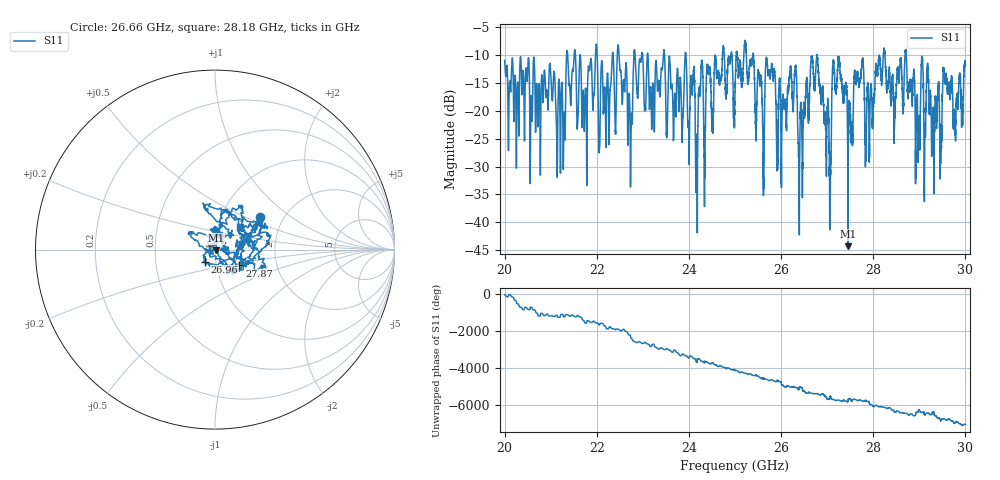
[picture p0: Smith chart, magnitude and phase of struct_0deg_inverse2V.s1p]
#  HZ  S  RI  R  50.00
! Rohde & Schwarz ZVA40 4Ports - Version 3.90 - 1145.1110k42 SN: 100403
! Date: 2023-09-28 09:01:48
! Measurement: S22
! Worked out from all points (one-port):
!   5001 points, 20 GHz to 30 GHz, reference 50 ohm
!   lowest |S11| = -44.3 dB at 27.45 GHz (marker M1), VSWR 1.01, Z = 50.4 - j0.426 ohm
!   |S11| at or under -10 dB: start of sweep to 21.34 GHz; 25.4 GHz to 26.77 GHz (1.375 GHz wide, 5.27 % of centre); 26.78 GHz to 28.13 GHz (1.345 GHz wide, 4.9 % of centre)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
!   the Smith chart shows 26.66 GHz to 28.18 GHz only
!   S11 on the Smith chart (normalised r, x): 26.66 GHz: 1.52, +0.62; 26.96 GHz: 0.89, -0.12; 27.87 GHz: 1.29, -0.23; 28.18 GHz: 1.28, +0.34
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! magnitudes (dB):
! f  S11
! 20 GHz  -10.9
! 21.25 GHz  -15.9
! 21.5 GHz  -10.8
! 21.74 GHz  -18.2
! 21.85 GHz  -12.4
! 22.23 GHz  -13.3
! 22.5 GHz  -12.4
! 22.72 GHz  -20.6
! 22.96 GHz  -11.0
! 23.75 GHz  -12.3
! 24.08 GHz  -15.6
! 24.18 GHz  -29.5
! 24.26 GHz  -13.9
! 25 GHz  -16.6
! 26.25 GHz  -18.4
! 26.42 GHz  -19.2
! 26.66 GHz  -10.1
! 26.96 GHz  -21.0
! 27.05 GHz  -25.6
! 27.26 GHz  -10.7
! 27.45 GHz  -44.3
! 27.5 GHz  -20.5
! 27.75 GHz  -12.2
! 27.87 GHz  -15.8
! 28.18 GHz  -14.4
! 28.75 GHz  -16.1
! 28.96 GHz  -21.9
! 30 GHz  -11.6
